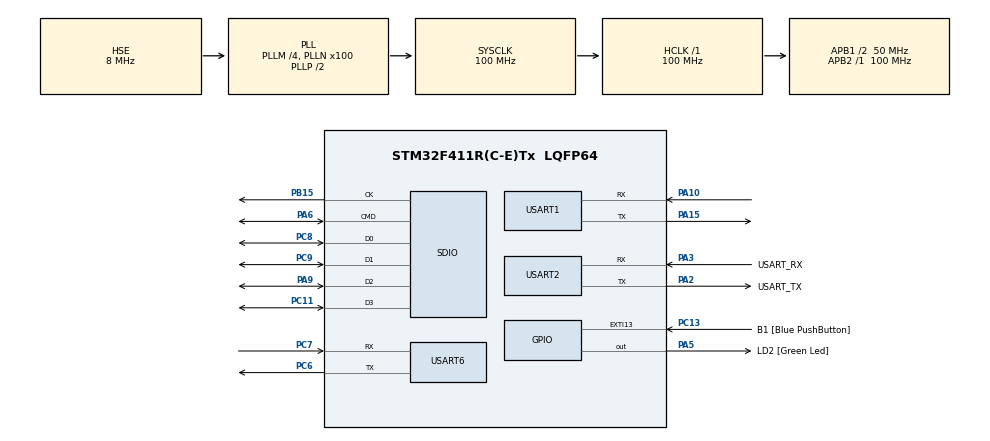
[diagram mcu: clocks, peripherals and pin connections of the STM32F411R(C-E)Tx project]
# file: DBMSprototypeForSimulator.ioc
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Dma.Request0=SDIO_RX
Dma.Request1=SDIO_TX
Dma.SDIO_RX.0.Direction=DMA_PERIPH_TO_MEMORY
Dma.SDIO_RX.0.FIFOMode=DMA_FIFOMODE_ENABLE
Dma.SDIO_RX.0.FIFOThreshold=DMA_FIFO_THRESHOLD_FULL
Dma.SDIO_RX.0.Instance=DMA2_Stream3
Dma.SDIO_RX.0.MemBurst=DMA_MBURST_INC4
Dma.SDIO_RX.0.MemDataAlignment=DMA_MDATAALIGN_WORD
Dma.SDIO_RX.0.MemInc=DMA_MINC_ENABLE
Dma.SDIO_RX.0.Mode=DMA_PFCTRL
Dma.SDIO_RX.0.PeriphBurst=DMA_PBURST_INC4
Dma.SDIO_RX.0.PeriphDataAlignment=DMA_PDATAALIGN_WORD
Dma.SDIO_RX.0.PeriphInc=DMA_PINC_DISABLE
Dma.SDIO_RX.0.Priority=DMA_PRIORITY_LOW
Dma.SDIO_TX.1.Direction=DMA_MEMORY_TO_PERIPH
Dma.SDIO_TX.1.FIFOMode=DMA_FIFOMODE_ENABLE
Dma.SDIO_TX.1.FIFOThreshold=DMA_FIFO_THRESHOLD_FULL
Dma.SDIO_TX.1.Instance=DMA2_Stream6
Dma.SDIO_TX.1.MemBurst=DMA_MBURST_INC4
Dma.SDIO_TX.1.MemDataAlignment=DMA_MDATAALIGN_WORD
Dma.SDIO_TX.1.MemInc=DMA_MINC_ENABLE
Dma.SDIO_TX.1.Mode=DMA_PFCTRL
Dma.SDIO_TX.1.PeriphBurst=DMA_PBURST_INC4
Dma.SDIO_TX.1.PeriphDataAlignment=DMA_PDATAALIGN_WORD
Dma.SDIO_TX.1.PeriphInc=DMA_PINC_DISABLE
Dma.SDIO_TX.1.Priority=DMA_PRIORITY_LOW
FATFS.USE_DMA_CODE_SD=1
Mcu.Family=STM32F4
Mcu.Name=STM32F411R(C-E)Tx
Mcu.Package=LQFP64
NVIC.DMA2_Stream3_IRQn=true\:0\:0\:false\:false\:true\:false\:true
NVIC.DMA2_Stream6_IRQn=true\:0\:0\:false\:false\:true\:false\:true
NVIC.PriorityGroup=NVIC_PRIORITYGROUP_0
NVIC.SDIO_IRQn=true\:0\:0\:false\:false\:true\:true\:true
NVIC.USART1_IRQn=true\:0\:0\:false\:false\:true\:true\:true
NVIC.USART6_IRQn=true\:0\:0\:false\:false\:true\:true\:true
PA10.Mode=Asynchronous
PA10.Signal=USART1_RX
PA13.GPIO_Label=TMS
PA13.Mode=Serial_Wire
PA13.Signal=SYS_JTMS-SWDIO
PA14.GPIO_Label=TCK
PA14.Mode=Serial_Wire
PA14.Signal=SYS_JTCK-SWCLK
PA15.Mode=Asynchronous
PA15.Signal=USART1_TX
PA2.GPIO_Label=USART_TX
PA2.Mode=Asynchronous
PA2.Signal=USART2_TX
PA3.GPIO_Label=USART_RX
PA3.Mode=Asynchronous
PA3.Signal=USART2_RX
PA5.GPIO_Label=LD2 [Green Led]
PA5.Signal=GPIO_Output
PA6.Mode=SD_4_bits_Wide_bus
PA6.Signal=SDIO_CMD
PA9.Mode=SD_4_bits_Wide_bus
PA9.Signal=SDIO_D2
PB15.Mode=SD_4_bits_Wide_bus
PB15.Signal=SDIO_CK
PB3.GPIO_Label=SWO
PB3.Signal=SYS_JTDO-SWO
PC11.Mode=SD_4_bits_Wide_bus
PC11.Signal=SDIO_D3
PC13-ANTI_TAMP.GPIO_Label=B1 [Blue PushButton]
PC13-ANTI_TAMP.GPIO_ModeDefaultEXTI=GPIO_MODE_IT_FALLING
PC13-ANTI_TAMP.Signal=GPXTI13
PC14-OSC32_IN.Mode=LSE-External-Oscillator
PC14-OSC32_IN.Signal=RCC_OSC32_IN
PC15-OSC32_OUT.Mode=LSE-External-Oscillator
PC15-OSC32_OUT.Signal=RCC_OSC32_OUT
PC6.Mode=Asynchronous
PC6.Signal=USART6_TX
PC7.Mode=Asynchronous
PC7.Signal=USART6_RX
PC8.Mode=SD_4_bits_Wide_bus
PC8.Signal=SDIO_D0
PC9.Mode=SD_4_bits_Wide_bus
PC9.Signal=SDIO_D1
PH0\ -\ OSC_IN.Mode=HSE-External-Clock-Source
PH0\ -\ OSC_IN.Signal=RCC_OSC_IN
PH1\ -\ OSC_OUT.Mode=HSE-External-Clock-Source
PH1\ -\ OSC_OUT.Signal=RCC_OSC_OUT
ProjectManager.HeapSize=0x200
ProjectManager.StackSize=0x400
ProjectManager.TargetToolchain=STM32CubeIDE
RCC.48MHZClocksFreq_Value=40000000
RCC.AHBFreq_Value=100000000
RCC.APB1CLKDivider=RCC_HCLK_DIV2
RCC.APB1Freq_Value=50000000
RCC.APB1TimFreq_Value=100000000
RCC.APB2Freq_Value=100000000
RCC.APB2TimFreq_Value=100000000
RCC.CortexFreq_Value=100000000
RCC.FLatency-AdvancedSettings=FLASH_LATENCY_3
RCC.HCLKFreq_Value=100000000
RCC.HSE_VALUE=8000000
RCC.HSI_VALUE=16000000
RCC.PLLM=4
RCC.PLLN=100
RCC.PLLQ=5
RCC.PLLSourceVirtual=RCC_PLLSOURCE_HSE
RCC.SYSCLKFreq_VALUE=100000000
RCC.SYSCLKSource=RCC_SYSCLKSOURCE_PLLCLK
RCC.VCOOutputFreq_Value=200000000
USART1.VirtualMode=VM_ASYNC
USART2.VirtualMode=VM_ASYNC
USART6.VirtualMode=VM_ASYNC
VP_FATFS_VS_SDIO.Mode=SDIO
board=NUCLEO-F411RE

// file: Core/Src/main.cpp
/* USER CODE BEGIN Header */
/**
  ******************************************************************************
  * @file           : main.c
  * @brief          : Main program body
  ******************************************************************************
  * @attention
  *
  * Copyright (c) 2022 STMicroelectronics.
  * All rights reserved.
  *
  * This software is licensed under terms that can be found in the LICENSE file
  * in the root directory of this software component.
  * If no LICENSE file comes with this software, it is provided AS-IS.
  *
  ******************************************************************************
  */
/* USER CODE END Header */
#include "main.h"
#include "dma.h"
#include "fatfs.h"
#include "sdio.h"
#include "usart.h"
#include "gpio.h"

/* USER CODE BEGIN Includes */
#include "stn1110.h"
#include "UartRingbuffer.h"
/* USER CODE END Includes */

/* USER CODE BEGIN PV */

float f_pitch;
float f_roll;
float f_accelX;
float f_accelY;

int i_accelX;
int i_accelY;

////////////////////////////////////////////SDIO///////////////////////////////////////////////////////////////

int i;

char Filename[] = "Log00000.CSV";

////////////////////////////////////////////SDIO///////////////////////////////////////////////////////////////

////////////////////////////////////////////stn1110///////////////////////////////////////////////////////////

uint32_t Uart6_currentTime;
uint32_t Uart6_previousTime;
const uint32_t Uart6_timeout_ms = 1000;

#define cur_myELM327_STATUS curS;
#define pre_myELM327_STATUS preS;

uint32_t rpm = 0;
uint32_t motorrpm = 0;
uint32_t kph = 0;
uint32_t engineLoad = 0;
uint16_t runTime = 0;
uint8_t fuelType = 0;
int32_t oilTemp = 0;
uint32_t relativePedalPos = 0;
uint32_t throttle = 0;
uint32_t relativeThrottle = 0;
int32_t intakeAirTemp = 0;
uint32_t fuelLevel = 0;
float mafRate = 0; // uint32_t
uint8_t obdStandards = 0;
uint16_t distTravelWithMIL = 0;
uint16_t distSinceCodesCleared = 0;
uint32_t ctrlModVoltage = 0;
int16_t ambientAirTemp = 0;
uint32_t manifoldPressure = 0;
int32_t engineCoolantTemp = 0;
float commandedThrottleActuator = 0;
float commandedAirFuelRatio = 0.0; //stn1110 Data Variables

static uint32_t counter_AccelYp;
static uint32_t counter_Fuel;
//static uint32_t counter_Energy;
static uint32_t counter_Rpm;
//static uint32_t counter_MotorRpm;
static float efficiencyScore;
static uint32_t counter_AccelX;
static uint32_t counter_AccelYm;
static uint32_t counter_AccelYm2;
static uint32_t counter_Time;
static uint32_t counter_KphRpm;
//static uint32_t counter_KphMotorRpm;
static uint32_t counter_Throttle;
static float safetyScore;
static float drivingScore = 10.0;
static float averagedrivingScore = 10.0;
static int counter_N1 = 1;
static int counter_N2 = 1;
static int counter_N3 = 1;
//static int counter_N4 = 1;
static int counter_Idle = 0;
static float AFR = 14.70;

float pre_f_accelX;
float pre_f_accelY;
float pre_instantFuelConsume;
float pre_instantEnergyConsume;
uint32_t pre_rpm;
uint32_t pre_motorrpm;
uint32_t pre_runTime;
int32_t pre_kph;
float pre_commandedThrottleActuator;
float instantFuelConsume = 12.0;
float averageFuelConsume = 12.0;
float averagecommandedThrottleActuator = 8;
float instantEnergyConsume = 12.0;
float averageEnergyConsume = 12.0;

bool flag_aws_publish = false; //flag

char car_state[30] = "";
int pwrCheck;
int rstCheck;
bool errorvaluecheck = true;
bool mafRatecheck = false;

static uint32_t elmstatusCheck = 0;

unsigned long c_time = 0;
unsigned long e_time = 0;

int HOUR = 0;
int MIN = 0;
int SEC = 0; // ?���? ?���? ?��,�?,�?

int E_HOUR = 0;
int E_MIN = 0;
int E_SEC = 0; // ?���? ?���? ?��,�?,�?

////////////////////////////////////////////stn1110///////////////////////////////////////////////////////////

STN1110 stn;

FATFS myFatFS;
FATFS *fs;
FIL myFile;
UINT myBytes;
FRESULT fr;
FILINFO fno;

DWORD fre_clust, fre_sect, tot_sect;

/* USER CODE END PV */

void SystemClock_Config(void);

/* USER CODE BEGIN 0 */
void printError(int8_t curS);
void LogToSDcard();
void LogToSDcard2();
void LogToSDcardError(int8_t curS);
void createNewfile();
void createNewfile2();
void accelYpAlgorithm();
void fuelAlgorithm();
void commandedThrottleActuatorAlgorithm();
void rpmAlgorithm();
void efficiencyScoreAlgorithm();
void efficiencyScoreAlgorithm2();
void accelXAlgorithm();
void accelYmAlgorithm();
void accelYmAlgorithm2();
void timeAlgorithm();
void kphrpmAlgorithm();
void safetyScoreAlgorithm();
void drivingScoreAlgorithm();
void averagedrivingScoreAlgorithm();
void pre_DataUpdate();
void counterReset();
bool errorValueReset();
bool mafRateCheck(float mafRate_value);
void clearData();
bool Uart6_timeout();
void flushInputBuff();
/* USER CODE END 0 */

int main(void)
{

  /* MCU Configuration--------------------------------------------------------*/

  /* Reset of all peripherals, Initializes the Flash interface and the Systick. */
  HAL_Init();

  /* Configure the system clock */
  SystemClock_Config();

  /* Initialize all configured peripherals */
  MX_GPIO_Init();
  MX_USART2_UART_Init();
  MX_SDIO_SD_Init();
  MX_USART6_UART_Init();
  MX_FATFS_Init();
  MX_DMA_Init();
  MX_USART1_UART_Init();
  /* USER CODE BEGIN 2 */
  Ringbuf_init();
  Ringbuf_init2();

  /////////////////////////////////////////////MPU6050//////////////////////////////////////////////////////////

 //자이로 데이터 받아오기

  /////////////////////////////////////////////MPU6050//////////////////////////////////////////////////////////

 ///////////////////////////////////////////SDIO/////////////////////////////////////////////////////////////

    	    if(f_mount(&myFatFS, SDPath, 1) == FR_OK)
    	     {
    	   	  printf("SD Mount 'Success'\r\n");
    	   	  fr = f_getfree("", &fre_clust, &fs);
    	   	    /* Get total sectors and free sectors */
    	   	    tot_sect = (fs->n_fatent - 2) * fs->csize;
    	   	    fre_sect = fre_clust * fs->csize;
    	   	    /* Print the free space (assuming 512 bytes/sector) */
    	   	    printf("SD card stauts : %lu MB total drive space.\r\n", (tot_sect / 2)/997);
    	   	    printf("Remaining space : %lu MB available.\r\n", (fre_sect / 2)/997);

    	   //	    if (((fre_sect/2)/997) < 10)
    	   //	    {
    	   //			?��?�� �?족시 ?��?��?��?�� 루틴 만들�?
    	   //	    }

    	   	  for (unsigned int k = 0; k < 100000; k++)
    	   	  {
    	   		Filename[3] = k / 10000 + '0'; //만자�?
    	   		Filename[4] = ((k % 10000) / 1000) + '0';//천자�?
    	   		Filename[5] = ((k % 1000) / 100) + '0';//백자�?
    	   		Filename[6] = ((k % 100) / 10) + '0'; //?��?���?
    	   		Filename[7] = k % 10 + '0'; //?��?���?
    	   		fr = f_open(&myFile, Filename, FA_WRITE | FA_CREATE_NEW);
    	   		if (fr == FR_OK)
    	   		{
    	   			break;
    	   		}
    	   	  }
    	   	  printf("Logging to : ");
    	   	  printf("%s\r\n", Filename);
    	   	  f_printf(&myFile, "%s", "First Boot");
    	   	  f_printf(&myFile, "%s", "\n");
    	   	  f_printf(&myFile, "%s", "Time,ELM327_Status,RunTime,Rpm,Kph,EngineLoad,throttle,InstantFuelConsume,counter_AccelYp,counter_Fuel,counter_Rpm,efficiencyScore,counter_AccelX,counter_AccelYm,AccelYm2,counter_Time,counter_KphRpm,safetyScore,drivingScore,averagedrivingScore,f_pitch,f_roll,f_accelX,f_accelY");
    	   	  f_printf(&myFile, "%s", "\n");
    	   	  f_close(&myFile);
    	     }
    	     else { printf("SD Mount 'Failed'\r\n"); NVIC_SystemReset(); }

    	  /////////////////////////////////////////////SDIO/////////////////////////////////////////////////////////////

  /////////////////////////////////////////////stn1110//////////////////////////////////////////////////////////

    if (!stn.begin(&huart6, false, 2000))
    	{
    		printf("Couldn't connect to STN1110");
    		while(1);
    	}
    else printf("Connected to STN1110\r\n");

	uint8_t Uart6_counter = 0;
	uint16_t Uart6_PAYLOAD_LEN;
	char* Uart6_payload;
	bool Uart6_debugMode = false;
	const uint16_t& Uart6_payloadLen = 40;
	Uart6_PAYLOAD_LEN = Uart6_payloadLen;
	Uart6_payload = (char*)malloc(Uart6_PAYLOAD_LEN + 1);
  /* USER CODE END 2 */

  /* Infinite loop */
  /* USER CODE BEGIN WHILE */
  while (1)
  {
/////////////////////////////////////////////mpu6050//////////////////////////////////////////////////////////
		// clear payload buffer
		memset(Uart6_payload, '\0', Uart6_PAYLOAD_LEN + 1);
		Uart6_counter = 0;
		flushInputBuff();
		Uart_flush();

//		uint8_t str[] = "at+qd\r\n";
//		HAL_UART_Transmit(&huart1, (uint8_t*)str, 8, 1000); //uart번호, 출력할 문자열, 문자 개수, timeout

		Uart_sendstring("at+qd\r\n");

		// prime the timeout timer
		Uart6_previousTime = millis();
		Uart6_currentTime  = Uart6_previousTime;

		while ((Uart6_counter < Uart6_PAYLOAD_LEN) && !Uart6_timeout())
		{
	//		printf("this is sendcommand while loop");

			if (IsDataAvailable())
			{

				char recGyro = Uart_read();

				if (Uart6_debugMode)
				{
					printf("\tReceived char: ");

					if (recGyro == '\f')
						printf("\\f\r\n");
					else if (recGyro == '\n')
						printf("\\n\r\n");
					else if (recGyro == '\r')
						printf("\\r\r\n");
					else if (recGyro == '\t')
						printf("\\t\r\n");
					else if (recGyro == '\v')
						printf("\\v\r\n");
					else
						printf("%c\r\n", recGyro);
				}

				if (recGyro == '<')
				{
					if (Uart6_debugMode)
						printf("Delimiter found\r\n");

					break;
				}
//				else if (!isalnum(recGyro) && (recGyro != ':'))
				else if ((recGyro == '.'))
					continue;

				Uart6_payload[Uart6_counter] = recGyro;
				Uart6_counter++;

			}
		}

		//printf("%s\r\n", Uart6_payload);
		char Gyro_payload[10];
		char* token;
		char del[] = ",";
		memcpy(Gyro_payload, Uart6_payload, sizeof(Gyro_payload));
//		printf("%s\r\n", Gyro_payload);

		token = strtok(Gyro_payload, del);
//		printf("first one : %s\r\n", token);
		i_accelX = atoi(token);
		f_accelX = i_accelX / (float)100;

		token = strtok(NULL, del);
//		printf("second one : %s\r\n", token);
		i_accelY = atoi(token);
		f_accelY = i_accelY / (float)100;

/////////////////////////////////////////////mpu6050//////////////////////////////////////////////////////////

/////////////////////////////////////////////stn1110//////////////////////////////////////////////////////////

  	  	 	 	    static int8_t cur_myELM327_STATUS; // ?��?��?��?�� ?��?���??��
		  	  	    static int8_t pre_myELM327_STATUS; // ?��?��?��?�� ?��?���??��

		  	  	    c_time = millis() / 1000; //?���?

		  	  	    SEC = c_time % 60;
		  	  	    MIN = (c_time / 60) % 60;
		  	  	    HOUR = (c_time / (60 * 60)) % 24;

		  	  	    float tempRPM = stn.rpm();
		  	  	    uint32_t tempVEHICLE_SPEED = stn.kph();
		  	  	    float tempENGINE_LOAD = stn.engineLoad();
		  	  	    uint16_t tempRUN_TIME_SINCE_ENGINE_START = stn.runTime();
		  	  	    uint8_t tempFUEL_TYPE = stn.fuelType();
		  	  	    float tempENGINE_OIL_TEMP = stn.oilTemp();
		  	  	    float tempENGINE_COOLANT_TEMP = stn.engineCoolantTemp();
		  	  	    float tempRELATIVE_ACCELERATOR_PEDAL_POS = stn.relativePedalPos();
		  	  	    float tempTHROTTLE_POSITION = stn.throttle();
		  	  	    float tempCOMMANDED_THROTTLE_ACTUATOR = stn.commandedThrottleActuator();
		  	  	    float tempRELATIVE_THROTTLE_POSITION = stn.relativeThrottle();
		  	  	    float tempINTAKE_AIR_TEMP = stn.intakeAirTemp();
		  	  	    uint8_t tempINTAKE_MANIFOLD_ABS_PRESSURE = stn.manifoldPressure();
		  	  	    float tempFUEL_TANK_LEVEL_INPUT = stn.fuelLevel();
		  	  	    uint8_t tempOBD_STANDARDS = stn.obdStandards();
		  	  	    float tempCONTROL_MODULE_VOLTAGE = stn.ctrlModVoltage();
		  	  	    float tempAMBIENT_AIR_TEMP = stn.ambientAirTemp();
		  	  	    uint16_t tempDISTANCE_TRAVELED_WITH_MIL_ON = stn.distTravelWithMIL();
		  	  	    uint16_t tempDIST_TRAV_SINCE_CODES_CLEARED = stn.distSinceCodesCleared();
		  	  	    float tempMAF_FLOW_RATE = stn.mafRate();
		  	  	    float tempFUEL_AIR_MANDED_EQUIV_RATIO = stn.commandedAirFuelRatio();

		  	  	    mafRateCheck(tempMAF_FLOW_RATE);

		  	  	    curS = stn.status; //?��?��?��?�� 갱신

		  	  	    switch (curS) {
		  	  	         case ELM_SUCCESS:
		  	  	         strcpy(car_state, "ELM_SUCCESS");
		  	  	         break;

		  	  	         case ELM_NO_RESPONSE:
		  	  	         strcpy(car_state, "ELM_NO_RESPONSE");
		  	  	         break;

		  	  	         case ELM_BUFFER_OVERFLOW:
		  	  	         strcpy(car_state, "ELM_BUFFER_OVERFLOW");
		  	  	         break;

		  	  	         case ELM_UNABLE_TO_CONNECT:
		  	  	         strcpy(car_state, "ELM_UNABLE_TO_CONNECT");
		  	  	         break;

		  	  	         case ELM_NO_DATA:
		  	  	         strcpy(car_state, "ELM_NO_DATA");
		  	  	         break;

		  	  	         case ELM_STOPPED:
		  	  	         strcpy(car_state, "ELM_STOPPED");
		  	  	         break;

		  	  	         case ELM_TIMEOUT:
		  	  	         strcpy(car_state, "ELM_TIMEOUT");
		  	  	         break;

		  	  	         default:
		  	  	         strcpy(car_state, "UNKNOWN_ERROR");
		  	  	       }

		  	      if ( (curS != preS) && (mafRatecheck == true)) // 이전상태와 현재상태가 다를시 새파일 생성 (mafRate 값 받아와질시 저장)
		  	          createNewfile();
		  	      else if ( (curS != preS) && (mafRatecheck == false)) // 이전상태와 현재상태가 다를시 새파일 생성 (commandedThrottleActuatorAlgorithm 실행시 저장)
		  	          createNewfile2();

		  	  	    preS = curS; // ?��?��?��?�� ?��?��?��?���? 갱신

		  	  	  if (curS == ELM_SUCCESS)
		  	  	  {
		  	  		 elmstatusCheck = 0; //elmstatusCheck Reset!

		  	  		  runTime = (uint16_t)tempRUN_TIME_SINCE_ENGINE_START; //?��진켜진시?�� ?��?�� ?��?��?���?
		  	  		  fuelType = (int32_t)tempFUEL_TYPE; //?��?�� ?��료정�?
		  	  		  rpm = (uint32_t)tempRPM; //차량 RPM
		  	  		  kph = (uint32_t)tempVEHICLE_SPEED; //차량?��?��
		  	  		  engineLoad = (uint32_t)tempENGINE_LOAD; //?��진�??��
		  	  		  oilTemp = (int32_t)tempENGINE_OIL_TEMP; //?��?��?��?��
		  	  		  engineCoolantTemp = (int32_t)tempENGINE_COOLANT_TEMP; //?���? ?��각수 ?��?��
		  	  		  relativePedalPos = (uint32_t)tempRELATIVE_ACCELERATOR_PEDAL_POS;
		  	  		  throttle = (uint32_t)tempTHROTTLE_POSITION; //?��로�? ?���??��
		  	  		  relativeThrottle = (uint32_t)tempRELATIVE_THROTTLE_POSITION; //?��?? ?��로�? ?���??��
		  	  		  commandedThrottleActuator = (float)tempCOMMANDED_THROTTLE_ACTUATOR; //?��로�? ?��츄에?��?��
		  	  		  intakeAirTemp = (int32_t)tempINTAKE_AIR_TEMP; //?��?��공기 ?��?��
		  	  		  mafRate = (float)tempMAF_FLOW_RATE; //공기?��?��
		  	  		  manifoldPressure = (uint8_t)tempINTAKE_MANIFOLD_ABS_PRESSURE; //?��기매?��?��?�� ?��???��?��
		  	  		  ambientAirTemp = (int16_t)tempAMBIENT_AIR_TEMP; //?��기온?��
		  	  		  distTravelWithMIL = (uint16_t)tempDISTANCE_TRAVELED_WITH_MIL_ON; //경고?�� ?��?��?��?�� 주행거리
		  	  		  distSinceCodesCleared = (uint16_t)tempDIST_TRAV_SINCE_CODES_CLEARED; //DTC ?��거후 주행거리
		  	  		  fuelLevel = (uint32_t)tempFUEL_TANK_LEVEL_INPUT; //?��료레�?
		  	  		  ctrlModVoltage = (uint32_t)tempCONTROL_MODULE_VOLTAGE; //컨트�? 모듈 ?��?��
		  	  		  obdStandards = (uint8_t)tempOBD_STANDARDS; //OBD ?���? - ?��치값 wikipedia �??��
		  	  		  commandedAirFuelRatio = (float)tempFUEL_AIR_MANDED_EQUIV_RATIO;

		  	  	    if (errorValueReset() == true) {printf("Error Value Reset!\r\n"); } //errorvalue 확인후 조건수정
		  	  	    if ( (kph == 0) && (rpm >= 550) ) counter_Idle++;

		  	  	    if (mafRatecheck == true)
		  	  	    {
		  	  	      switch (fuelType) {
		  	  	      case 1 : AFR = 14.7;
		  	  	      break;
		  	  	      case 2 : AFR = 6.4;
		  	  	      break;
		  	  	      case 3 : AFR = 9.0;
		  	  	      break;
		  	  	      case 4 : AFR = 14.6;
		  	  	      break;
		  	  	      case 5 : AFR = 15.5;
		  	  	      break;
		  	  	      case 6 : AFR = 17.2;
		  	  	      break;
		  	  	      default : AFR = 14.7;
		  	  	      break; }

		  	  	      instantFuelConsume = ((kph*AFR*commandedAirFuelRatio*710.0)/(mafRate*3600)); //Km/L
		  	  	      // **instantFuelConsume = kph*1/3600*1/mafRate*AFR*770*commandedAirFuelRatio;    //km/l 단위변환
		  	  	      // **instantFuelConsume = ((mafRate*36000)/(kph*commandedAirFuelRatio*AFR*770)); //1L/100km 단위변환

		  	  	      if ( instantFuelConsume >= 30.0 )
		  	  	      {instantFuelConsume = 30.0;}

		  	  	      printf("instantFuelConsume : ");
		  	  	      printf("%f\r\n", instantFuelConsume);
		  	  	      printf("commandedAirFuelRatio : ");
		  	  	      printf("%f\r\n", commandedAirFuelRatio);
		  	  	      printf("AFR : ");
		  	  	      printf("%f\r\n", AFR);
		  	  	     }

		  	  	    if (mafRatecheck == true) {LogToSDcard();} // 시리얼모니터 확인 및 sd 카드 저장함수
		  	  	    else if (mafRatecheck == false) {LogToSDcard2();}
		  	   	  }
		  	  	  else {
		  	  		  printError(curS);
		  	  	  }

		  	  	if ( (rpm >100) && (pre_rpm > 100) && (curS == ELM_SUCCESS ) ) //알고리즘 실행 조건 수정필요
		  	  	      {
		  	  	        if (mafRatecheck == false)
		  	  	        {
		  	  	          commandedThrottleActuatorAlgorithm();
		  	  	          accelYpAlgorithm();
		  	  	          rpmAlgorithm();
		  	  	          efficiencyScoreAlgorithm2();
		  	  	        }

		  	  	        else if (mafRatecheck == true)
		  	  	        {
		  	  	          fuelAlgorithm();
		  	  	          accelYpAlgorithm();
		  	  	          rpmAlgorithm();
		  	  	          efficiencyScoreAlgorithm();
		  	  	        }

		  	  	        accelXAlgorithm();
		  	  	        accelYmAlgorithm();
		  	  	        accelYmAlgorithm2();
		  	  	        timeAlgorithm();
		  	  	        kphrpmAlgorithm();
		  	  	        safetyScoreAlgorithm();

		  	  	        drivingScoreAlgorithm();
		  	  	        averagedrivingScoreAlgorithm();
		  	  	      }
		  	  	      pre_DataUpdate();

		  	  	      if (elmstatusCheck > 5)
		  	  	      { counterReset(); }

/////////////////////////////////////////////stn1110//////////////////////////////////////////////////////////
    /* USER CODE END WHILE */

  }
}

void SystemClock_Config(void)
{
  RCC_OscInitTypeDef RCC_OscInitStruct = {0};
  RCC_ClkInitTypeDef RCC_ClkInitStruct = {0};

  /** Configure the main internal regulator output voltage
  */
  __HAL_RCC_PWR_CLK_ENABLE();
  __HAL_PWR_VOLTAGESCALING_CONFIG(PWR_REGULATOR_VOLTAGE_SCALE1);
  /** Initializes the RCC Oscillators according to the specified parameters
  * in the RCC_OscInitTypeDef structure.
  */
  RCC_OscInitStruct.OscillatorType = RCC_OSCILLATORTYPE_HSE;
  RCC_OscInitStruct.HSEState = RCC_HSE_BYPASS;
  RCC_OscInitStruct.PLL.PLLState = RCC_PLL_ON;
  RCC_OscInitStruct.PLL.PLLSource = RCC_PLLSOURCE_HSE;
  RCC_OscInitStruct.PLL.PLLM = 4;
  RCC_OscInitStruct.PLL.PLLN = 100;
  RCC_OscInitStruct.PLL.PLLP = RCC_PLLP_DIV2;
  RCC_OscInitStruct.PLL.PLLQ = 5;
  if (HAL_RCC_OscConfig(&RCC_OscInitStruct) != HAL_OK)
  {
    Error_Handler();
  }
  /** Initializes the CPU, AHB and APB buses clocks
  */
  RCC_ClkInitStruct.ClockType = RCC_CLOCKTYPE_HCLK|RCC_CLOCKTYPE_SYSCLK
                              |RCC_CLOCKTYPE_PCLK1|RCC_CLOCKTYPE_PCLK2;
  RCC_ClkInitStruct.SYSCLKSource = RCC_SYSCLKSOURCE_PLLCLK;
  RCC_ClkInitStruct.AHBCLKDivider = RCC_SYSCLK_DIV1;
  RCC_ClkInitStruct.APB1CLKDivider = RCC_HCLK_DIV2;
  RCC_ClkInitStruct.APB2CLKDivider = RCC_HCLK_DIV1;

  if (HAL_RCC_ClockConfig(&RCC_ClkInitStruct, FLASH_LATENCY_3) != HAL_OK)
  {
    Error_Handler();
  }
}

/* USER CODE BEGIN 4 */

////////////////////////////////////////////stn1110///////////////////////////////////////////////////////////

void printError(int8_t curS)
{
    elmstatusCheck++;

    if (curS == ELM_NO_RESPONSE)
    {
        printf("ERROR: ELM_NO_RESPONSE");
    }
    else if (curS == ELM_BUFFER_OVERFLOW)
    {
        printf("ERROR: ELM_BUFFER_OVERFLOW");
    }
    else if (curS == ELM_UNABLE_TO_CONNECT)
    {
    	printf("ERROR: ELM_UNABLE_TO_CONNECT");
    }
    else if (curS == ELM_NO_DATA)
    {
    	printf("ERROR: ELM_NO_DATA");
    }
    else if (curS == ELM_STOPPED)
    {
    	printf("ERROR: ELM_STOPPED");
    }
    else if (curS == ELM_TIMEOUT)
    {
    	printf("ERROR: ELM_TIMEOUT");
    }
    else if (curS == ELM_GENERAL_ERROR)
    {
    	printf("ERROR: ELM_GENERAL_ERROR");
    }
    printf("\r\n");

    LogToSDcardError(curS);
}

void LogToSDcard()
   {
	char logBuf[64];
	int loglen;

    // open the file. note that only one file can be open at a time,
    // so you have to close this one before opening another.
    fr = f_open(&myFile, Filename,  FA_WRITE | FA_OPEN_APPEND);

    // if the file is available, write to it:
    if (fr == FR_OK)
    {
        printf("ELM327 Data Logging...\r\n");
        f_printf(&myFile, "%d", HOUR);
        f_printf(&myFile, "%s", "h_");
        f_printf(&myFile, "%d", MIN);
        f_printf(&myFile, "%s", "m_");
        f_printf(&myFile, "%d", SEC);
        f_printf(&myFile, "%s", "s");
    	f_printf(&myFile, "%c", ',');

        f_printf(&myFile, "%s", "ELM_SUCCESS");
    	f_printf(&myFile, "%c", ',');

        f_printf(&myFile, "%u", runTime/60);
    	f_printf(&myFile, "%c", ',');

        f_printf(&myFile, "%u", rpm);
    	f_printf(&myFile, "%c", ',');

        f_printf(&myFile, "%u", kph);
    	f_printf(&myFile, "%c", ',');

        f_printf(&myFile, "%u", engineLoad);
    	f_printf(&myFile, "%c", ',');

        f_printf(&myFile, "%u", throttle);
    	f_printf(&myFile, "%c", ',');

    	f_lseek(&myFile, f_size(&myFile));
    	loglen = sprintf(logBuf, "%f", instantFuelConsume);
    	f_write(&myFile, logBuf, loglen, &myBytes);
        //f_printf(&myFile, "%f", instantFuelConsume);
    	f_printf(&myFile, "%c", ',');

        f_printf(&myFile, "%u", counter_AccelYp);
    	f_printf(&myFile, "%c", ',');

        f_printf(&myFile, "%u", counter_Fuel);
    	f_printf(&myFile, "%c", ',');

        f_printf(&myFile, "%u", counter_Rpm);
    	f_printf(&myFile, "%c", ',');

    	logBuf[0] = {0,};
    	f_lseek(&myFile, f_size(&myFile));
    	loglen = sprintf(logBuf, "%f", efficiencyScore);
    	f_write(&myFile, logBuf, loglen, &myBytes);
        //f_printf(&myFile, "%f", efficiencyScore);
    	f_printf(&myFile, "%c", ',');

        f_printf(&myFile, "%u", counter_AccelX);
    	f_printf(&myFile, "%c", ',');

        f_printf(&myFile, "%u", counter_AccelYm);
    	f_printf(&myFile, "%c", ',');

        f_printf(&myFile, "%u", counter_AccelYm2);
    	f_printf(&myFile, "%c", ',');

        f_printf(&myFile, "%u", counter_Time);
    	f_printf(&myFile, "%c", ',');

        f_printf(&myFile, "%u", counter_KphRpm);
    	f_printf(&myFile, "%c", ',');

    	logBuf[0] = {0,};
    	f_lseek(&myFile, f_size(&myFile));
    	loglen = sprintf(logBuf, "%f", safetyScore);
    	f_write(&myFile, logBuf, loglen, &myBytes);
        //f_printf(&myFile, "%f", safetyScore);
    	f_printf(&myFile, "%c", ',');

    	logBuf[0] = {0,};
    	f_lseek(&myFile, f_size(&myFile));
    	loglen = sprintf(logBuf, "%f", drivingScore);
    	f_write(&myFile, logBuf, loglen, &myBytes);
        //f_printf(&myFile, "%f", drivingScore);
    	f_printf(&myFile, "%c", ',');

    	logBuf[0] = {0,};
    	f_lseek(&myFile, f_size(&myFile));
    	loglen = sprintf(logBuf, "%f", averagedrivingScore);
    	f_write(&myFile, logBuf, loglen, &myBytes);
        //f_printf(&myFile, "%f", averagedrivingScore);
    	f_printf(&myFile, "%c", ',');

    	logBuf[0] = {0,};
    	f_lseek(&myFile, f_size(&myFile));
    	loglen = sprintf(logBuf, "%.2f", f_pitch);
    	f_write(&myFile, logBuf, loglen, &myBytes);
        //f_printf(&myFile, "%f", f_pitch);
    	f_printf(&myFile, "%c", ',');

    	logBuf[0] = {0,};
    	f_lseek(&myFile, f_size(&myFile));
    	loglen = sprintf(logBuf, "%.2f", f_roll);
    	f_write(&myFile, logBuf, loglen, &myBytes);
        //f_printf(&myFile, "%f", f_roll);
    	f_printf(&myFile, "%c", ',');

    	logBuf[0] = {0,};
    	f_lseek(&myFile, f_size(&myFile));
    	loglen = sprintf(logBuf, "%.2f", f_accelX);
    	f_write(&myFile, logBuf, loglen, &myBytes);
        //f_printf(&myFile, "%f", f_accelX);
    	f_printf(&myFile, "%c", ',');

    	logBuf[0] = {0,};
    	f_lseek(&myFile, f_size(&myFile));
    	loglen = sprintf(logBuf, "%.2f", f_accelY);
    	f_write(&myFile, logBuf, loglen, &myBytes);
        //f_printf(&myFile, "%f", f_accelY);
    	f_printf(&myFile, "%c", ',');
    	f_printf(&myFile, "%s", "\n");

        f_close(&myFile);
    }
    else
    	printf("Failed to open %s \r\n", Filename);

    //if the file isn't open, pop up an error:
    /*else
    {
        Serial.println("error opening LOG_XXXX.txt");
        delay(100);
    }*/
}

void LogToSDcard2()
   {
	char logBuf[64];
	int loglen;

    // open the file. note that only one file can be open at a time,
    // so you have to close this one before opening another.
    fr = f_open(&myFile, Filename,  FA_WRITE | FA_OPEN_APPEND);

    // if the file is available, write to it:
    if (fr == FR_OK)
    {
    	f_printf(&myFile, "%d", HOUR);
    	f_printf(&myFile, "%s", "h_");
    	f_printf(&myFile, "%d", MIN);
    	f_printf(&myFile, "%s", "m_");
    	f_printf(&myFile, "%d", SEC);
    	f_printf(&myFile, "%s", "s");
    	f_printf(&myFile, "%c", ',');

    	f_printf(&myFile, "%s", "ELM_SUCCESS");
    	f_printf(&myFile, "%c", ',');

    	f_printf(&myFile, "%u", runTime/60);
    	f_printf(&myFile, "%c", ',');

 	    f_printf(&myFile, "%u", rpm);
    	f_printf(&myFile, "%c", ',');

    	f_printf(&myFile, "%u", kph);
    	f_printf(&myFile, "%c", ',');

    	f_printf(&myFile, "%u", engineLoad);
    	f_printf(&myFile, "%c", ',');

    	f_printf(&myFile, "%u", throttle);
    	f_printf(&myFile, "%c", ',');

    	f_lseek(&myFile, f_size(&myFile));
    	loglen = sprintf(logBuf, "%f", commandedThrottleActuator);
    	f_write(&myFile, logBuf, loglen, &myBytes);
    	//f_printf(&myFile, "%f", commandedThrottleActuator);
    	f_printf(&myFile, "%c", ',');

 	    f_printf(&myFile, "%u", counter_AccelYp);
    	f_printf(&myFile, "%c", ',');

 	    f_printf(&myFile, "%u", counter_Throttle);
    	f_printf(&myFile, "%c", ',');

 	    f_printf(&myFile, "%u", counter_Rpm);
    	f_printf(&myFile, "%c", ',');

    	logBuf[0] = {0,};
    	f_lseek(&myFile, f_size(&myFile));
    	loglen = sprintf(logBuf, "%f", efficiencyScore);
    	f_write(&myFile, logBuf, loglen, &myBytes);
 	    //f_printf(&myFile, "%f", efficiencyScore);
    	f_printf(&myFile, "%c", ',');

 	    f_printf(&myFile, "%u", counter_AccelX);
    	f_printf(&myFile, "%c", ',');

 	    f_printf(&myFile, "%u", counter_AccelYm);
    	f_printf(&myFile, "%c", ',');

 	    f_printf(&myFile, "%u", counter_AccelYm2);
    	f_printf(&myFile, "%c", ',');

 	    f_printf(&myFile, "%u", counter_Time);
    	f_printf(&myFile, "%c", ',');

 	    f_printf(&myFile, "%u", counter_KphRpm);
    	f_printf(&myFile, "%c", ',');

    	logBuf[0] = {0,};
    	f_lseek(&myFile, f_size(&myFile));
    	loglen = sprintf(logBuf, "%f", safetyScore);
    	f_write(&myFile, logBuf, loglen, &myBytes);
 	    //f_printf(&myFile, "%f", safetyScore);
    	f_printf(&myFile, "%c", ',');

    	logBuf[0] = {0,};
    	f_lseek(&myFile, f_size(&myFile));
    	loglen = sprintf(logBuf, "%f", drivingScore);
    	f_write(&myFile, logBuf, loglen, &myBytes);
 	    //f_printf(&myFile, "%f", drivingScore);
    	f_printf(&myFile, "%c", ',');

    	logBuf[0] = {0,};
    	f_lseek(&myFile, f_size(&myFile));
    	loglen = sprintf(logBuf, "%f", averagedrivingScore);
    	f_write(&myFile, logBuf, loglen, &myBytes);
 	    //f_printf(&myFile, "%f", averagedrivingScore);
    	f_printf(&myFile, "%c", ',');

    	logBuf[0] = {0,};
    	f_lseek(&myFile, f_size(&myFile));
    	loglen = sprintf(logBuf, "%.2f", f_pitch);
    	f_write(&myFile, logBuf, loglen, &myBytes);
 	    //f_printf(&myFile, "%f", f_pitch);
    	f_printf(&myFile, "%c", ',');

    	logBuf[0] = {0,};
    	f_lseek(&myFile, f_size(&myFile));
    	loglen = sprintf(logBuf, "%.2f", f_roll);
    	f_write(&myFile, logBuf, loglen, &myBytes);
 	    //f_printf(&myFile, "%f", f_roll);
    	f_printf(&myFile, "%c", ',');

    	logBuf[0] = {0,};
    	f_lseek(&myFile, f_size(&myFile));
    	loglen = sprintf(logBuf, "%.2f", f_accelX);
    	f_write(&myFile, logBuf, loglen, &myBytes);
 	    //f_printf(&myFile, "%f", f_accelX);
    	f_printf(&myFile, "%c", ',');

    	logBuf[0] = {0,};
    	f_lseek(&myFile, f_size(&myFile));
    	loglen = sprintf(logBuf, "%.2f", f_accelY);
    	f_write(&myFile, logBuf, loglen, &myBytes);
 	    //f_printf(&myFile, "%f", f_accelY);
    	f_printf(&myFile, "%c", ',');
    	f_printf(&myFile, "%s", "\n");

        f_close(&myFile);
    }
    else
    	printf("Failed to open %s \r\n", Filename);

    //if the file isn't open, pop up an error:
    /*else
    {
        Serial.println("error opening LOG_XXXX.txt");
        delay(100);
    }*/
}

void LogToSDcardError(int8_t curS)
{
	printf("ELM_ERROR LOGGED\r\n");

    e_time = millis() / 1000; //에러타임

    E_SEC = e_time % 60;
    E_MIN = (e_time / 60) % 60;
    E_HOUR = (e_time / (60 * 60)) % 24;

    // open the file. note that only one file can be open at a time,
    // so you have to close this one before opening another.
    fr = f_open(&myFile, Filename, FA_WRITE | FA_OPEN_APPEND );

  if (fr == FR_OK)
   {
   	f_printf(&myFile, "%d", E_HOUR);
   	f_printf(&myFile, "%s", "h_");
   	f_printf(&myFile, "%d", E_MIN);
   	f_printf(&myFile, "%s", "m_");
   	f_printf(&myFile, "%d", E_SEC);
   	f_printf(&myFile, "%s", "s");
  	f_printf(&myFile, "%c", ',');

     if (curS == ELM_NO_RESPONSE) {

     f_printf(&myFile, "%s", "ERROR: ELM_NO_RESPONSE");
     f_printf(&myFile, "%s", "\n"); }

     else if (curS == ELM_BUFFER_OVERFLOW) {

     f_printf(&myFile, "%s", "ERROR: ELM_BUFFER_OVERFLOW");
 	 f_printf(&myFile, "%s", "\n"); }

     else if (curS == ELM_UNABLE_TO_CONNECT) {

     f_printf(&myFile, "%s", "ERROR: ELM_UNABLE_TO_CONNECT");
     f_printf(&myFile, "%s", "\n"); }

     else if (curS == ELM_NO_DATA) {

     f_printf(&myFile, "%s", "ERROR: ELM_NO_DATA");
 	 f_printf(&myFile, "%s", "\n"); }

     else if (curS == ELM_STOPPED) {

     f_printf(&myFile, "%s", "ERROR: ELM_STOPPED");
 	 f_printf(&myFile, "%s", "\n"); }

     else if (curS == ELM_CANERROR) {

     f_printf(&myFile, "%s", "ERROR: ELM_CANERROR");
     f_printf(&myFile, "%s", "\n");
     }

     else if (curS == ELM_OUTOFMEM) {

     f_printf(&myFile, "%s", "ERROR: ELM_OUTOFMEM");
     f_printf(&myFile, "%s", "\n");
     }

     else if (curS == ELM_TIMEOUT) {

     f_printf(&myFile, "%s", "ERROR: ELM_TIMEOUT");
 	 f_printf(&myFile, "%s", "\n"); }

     else if (curS == ELM_TIMEOUT) {

     f_printf(&myFile, "%s", "ERROR: ELM_GENERAL_ERROR");
 	 f_printf(&myFile, "%s", "\n"); }

     f_close(&myFile);
         }
  else
  	printf("Failed to open %s \r\n", Filename);

}

void createNewfile()
{
    //f_close(&myFile);

	  for (unsigned int k = 0; k < 100000; k++)
	  {
		Filename[3] = k / 10000 + '0'; //만자리
		Filename[4] = ((k % 10000) / 1000) + '0';//천자리
		Filename[5] = ((k % 1000) / 100) + '0';//백자리
		Filename[6] = ((k % 100) / 10) + '0'; //십자리
		Filename[7] = k % 10 + '0'; //일자리

		fr = f_open(&myFile, Filename, FA_WRITE | FA_CREATE_NEW);
		if (fr == FR_OK)
		{
			break;
		}
	  }
    printf("Logging to: ");
    printf("%s", Filename);
    printf("<<---------------------------");
    printf("Created New File...\r\n");

       //dataFile.println("Time,ELM327_Status,RunTime,Rpm,Kph,EngineLoad,throttle,InstantFuelConsume,counter_AccelYp,counter_Fuel,counter_Rpm,efficiencyScore,counter_AccelX,counter_AccelYm,AccelYm2,counter_Time,counter_KphRpm,safetyScore,drivingScore,averagedrivingScore,f_pitch,f_roll,f_accelX,f_accelY");
    	f_printf(&myFile, "%s", "Time,ELM327_Status,RunTime,Rpm,Kph,EngineLoad,throttle,InstantFuelConsume,counter_AccelYp,counter_Fuel,counter_Rpm,efficiencyScore,counter_AccelX,counter_AccelYm,AccelYm2,counter_Time,counter_KphRpm,safetyScore,drivingScore,averagedrivingScore,f_pitch,f_roll,f_accelX,f_accelY");
    	f_printf(&myFile, "%s", "\n");
       //csv 엑셀 윗라인 항목 표시띠
        f_close(&myFile);
}

void createNewfile2()
{
	 //f_close(&myFile);
		  for (unsigned int k = 0; k < 100000; k++)
		  {
			Filename[3] = k / 10000 + '0'; //만자리
			Filename[4] = ((k % 10000) / 1000) + '0';//천자리
			Filename[5] = ((k % 1000) / 100) + '0';//백자리
			Filename[6] = ((k % 100) / 10) + '0'; //십자리
			Filename[7] = k % 10 + '0'; //일자리
			fr = f_open(&myFile, Filename, FA_WRITE | FA_CREATE_NEW);
			if (fr == FR_OK)
			{
				break;
			}
		  }
	    printf("Logging to: ");
	    printf("%s", Filename);
	    printf("<<---------------------------");
	    printf("Created New File...\r\n");

       //dataFile.println("Time,ELM327_Status,RunTime,Rpm,Kph,EngineLoad,throttle,commandedThrottleActuator,counter_AccelYp,counter_Throttle,counter_Rpm,efficiencyScore,counter_AccelX,counter_AccelYm,AccelYm2,counter_Time,counter_KphRpm,safetyScore,drivingScore,averagedrivingScore,f_pitch,f_roll,f_accelX,f_accelY");
       f_printf(&myFile, "%s", "Time,ELM327_Status,RunTime,Rpm,Kph,EngineLoad,throttle,commandedThrottleActuator,counter_AccelYp,counter_Throttle,counter_Rpm,efficiencyScore,counter_AccelX,counter_AccelYm,AccelYm2,counter_Time,counter_KphRpm,safetyScore,drivingScore,averagedrivingScore,f_pitch,f_roll,f_accelX,f_accelY");
       f_printf(&myFile, "%s", "\n");
       //csv 엑셀 윗라인 항목 표시띠
       f_close(&myFile);
}

/////////////////////////////////////////////Algorithm////////////////////////////////////////////////////////

//efficiency algorithm//

void accelYpAlgorithm() //forward acceleration algorithm
{
  const float limitAccelY = 0.4;
  //static float pre_f_accelY = 0.0;
  //static int counter_AccelYp = 0;

  if ( (f_accelY >= limitAccelY) && (pre_f_accelY < limitAccelY) )
  {
    counter_AccelYp++;
    printf("counter_AccelYp : ");
    printf("%lu\r\n", counter_AccelYp);
  }

}

void fuelAlgorithm() //fuel consumption algorithm
{
  const int limitFuel = 8; // km/l
  //static int counter_Fuel = 0;
  const int limitFuel_max = 12;
  //static float pre_instantFuelConsume = 0.0;

  averageFuelConsume = (float)((averageFuelConsume*(counter_N1-1)+instantFuelConsume)/counter_N1);

if (averageFuelConsume <= limitFuel_max)
{
  if ( (instantFuelConsume <= limitFuel) && (pre_instantFuelConsume > limitFuel) )
  {
    counter_Fuel++;
    printf("counter_Fuel : ");
    printf("%lu\r\n", counter_Fuel);
  }
  else if ( (instantFuelConsume >= limitFuel_max) && (pre_instantFuelConsume < limitFuel_max) )
  {
    counter_Fuel--;
    if (counter_Fuel <= 0 )
    {
      counter_Fuel = 0;
    printf("counter_Fuel : ");
    printf("%lu\r\n", counter_Fuel);
    }
  }
}
counter_N1++;
}

void commandedThrottleActuatorAlgorithm()
{
    //static int counter_Throttle = 0;

    const int limit_Throttle_max = 65;
    const int limit_Throttle = 20;
    const int limit_Throttle_min = 10;

     averagecommandedThrottleActuator = (float)((averagecommandedThrottleActuator*(counter_N2-1)+commandedThrottleActuator)/counter_N2);

if (averagecommandedThrottleActuator >= limit_Throttle_min) {
  if ( (commandedThrottleActuator >= limit_Throttle) && (pre_commandedThrottleActuator < limit_Throttle) )
  {
    counter_Throttle++;
    printf("counter_Throttle : ");
    printf("%lu\r\n", counter_Throttle);
  }
    if ( (commandedThrottleActuator >= limit_Throttle_max) && (pre_commandedThrottleActuator < limit_Throttle_max) )
    {
    counter_Throttle++;
    printf("counter_Throttle+ : ");
    printf("%lu\r\n", counter_Throttle);
    }
    if ( (commandedThrottleActuator > limit_Throttle_max) && (pre_commandedThrottleActuator > limit_Throttle) )
    {
    counter_Throttle++;
    printf("counter_Throttle+ : ");
    printf("%lu\r\n", counter_Throttle);
    }
    if ( (commandedThrottleActuator <= limit_Throttle_min) && (pre_commandedThrottleActuator > limit_Throttle_min) )
  {
    counter_Throttle--;
    if (counter_Throttle <= 0 )
    {
      counter_Throttle = 0;
    printf("counter_Throttle : ");
    printf("%lu\r\n", counter_Throttle);
    }
  }
}

//
//if (averagecommandedThrottleActuator < limit_Throttle_min)
//{
//    counter_Throttle = 0;
//    printf("counter_Throttle Zeroed ");
//    printf("%lu\r\n", counter_Throttle);
//}

if (counter_Idle >= 30)
{
  counter_Throttle++;
  counter_Idle = 0;
  printf("Idle counter_Throttle+ : ");
  printf("%lu\r\n", counter_Throttle);
}
counter_N2++;
}

void rpmAlgorithm() //enginespeed algorithm
{
  const int limitRpm = 2100;
  const int limitRpm_max = 4000;
  //static uint32_t pre_rpm = 0.0;
  //static int counter_Rpm = 0;

  if ( (rpm >= limitRpm) && (pre_rpm < limitRpm) )
  {
    counter_Rpm++;
    printf("counter_Rpm : ");
    printf("%lu\r\n", counter_Rpm);
  }

  if ( ( (rpm >= limitRpm_max) && (pre_rpm >= limitRpm_max) ) || ( (rpm >= limitRpm_max) && (pre_rpm < limitRpm_max) ) )
  {
    counter_Rpm++;
    printf("counter_Rpm+ : ");
    printf("%lu\r\n", counter_Rpm);
  }
}

void efficiencyScoreAlgorithm() //algorithm with fuel limit condition efficiency formulas
{
  //static float efficiencyScore = 0.0;
  const int limitFuel_max = 12;

  if (averageFuelConsume < limitFuel_max)
  {
    efficiencyScore = (float)(5.0-(40*((float)counter_AccelYp)/runTime)-(30*((float)counter_Rpm)/runTime));
    printf("efficiencyScore : ");
    printf("%f", efficiencyScore);
    printf(" / 10\r\n");
  }
  else if (averageFuelConsume >= limitFuel_max)
  {
    efficiencyScore = (float)(10.0-(40*((float)counter_AccelYp)/runTime)-(180*((float)counter_Fuel)/runTime)-(30*((float)counter_Rpm)/runTime));
    printf("efficiencyScore : ");
    printf("%f", efficiencyScore);
    printf(" / 10\r\n");
  }
  if (efficiencyScore <= 0)
  efficiencyScore = 0.0;
  if (isnan(efficiencyScore))
  efficiencyScore = 5.0;

  printf("averageFuelConsume : ");
  printf("%f\r\n", averageFuelConsume);
}

void efficiencyScoreAlgorithm2() //algorithm with fuel limit condition efficiency formulas
{
  //static float efficiencyScore = 0.0;
  const int limit_Throttle_min = 10;

  if (averagecommandedThrottleActuator >= limit_Throttle_min)
  {
    efficiencyScore = (float)(5.0-(40*((float)counter_AccelYp)/runTime)-(30*((float)counter_Rpm)/runTime));
    printf("efficiencyScore : ");
    printf("%f", efficiencyScore);
    printf(" / 10\r\n");
  }
  else if (averagecommandedThrottleActuator < limit_Throttle_min)
  {
    efficiencyScore = (float)(10.0-(50*((float)counter_AccelYp)/runTime)-(180*((float)counter_Throttle)/runTime)-(30*((float)counter_Rpm)/runTime));
    printf("efficiencyScore : ");
    printf("%f", efficiencyScore);
    printf(" / 10\r\n");
  }
  if (efficiencyScore <= 0)
  efficiencyScore = 0.0;
  if (isnan(efficiencyScore))
  efficiencyScore = 5.0;

  printf("averagecommandedThrottleActuator : ");
  printf("%f\r\n", averagecommandedThrottleActuator);
}

//safety algorithm//

void accelXAlgorithm() //lateral acceleration algorithm
{
  const float limitAccelXp = 0.4;
  const float limitAccelXm = -0.4;
  //static float pre_f_accelX = 0.0;
  //static int counter_AccelX = 0;

  if ( (f_accelX >= limitAccelXp) && (pre_f_accelX < limitAccelXp))
  {
    counter_AccelX++;
    printf("counter_AccelX : ");
    printf("%lu\r\n", counter_AccelX);
  }
  else if ( (f_accelX <= limitAccelXm) && (pre_f_accelX > limitAccelXm))
  {
    counter_AccelX++;
    printf("counter_AccelX : ");
    printf("%lu\r\n", counter_AccelX);
  }

}

void accelYmAlgorithm() //dangerous acceleration algorithm
{
  const float limitAccelYm = -0.4;
  //static float pre_f_accelY = 0;
  //static int counter_AccelYm = 0;

if ( (f_accelY <= limitAccelYm) && (pre_f_accelY > limitAccelYm) )
{
    counter_AccelYm++;
    printf("counter_AccelYm : ");
    printf("%lu\r\n", counter_AccelYm);
}
}

void accelYmAlgorithm2() // negative forward acceleration algorithm
{
  const float limitAccelYm = -0.3;
  //static float pre_f_accelY = 0.0;
  //static int counter_AccelYm2 = 0;

  if ( (f_accelY <= limitAccelYm) && (pre_f_accelY > limitAccelYm) )
  {
    counter_AccelYm2++;
    printf("counter_AccelYm2 : ");
    printf("%lu\r\n", counter_AccelYm2);
  }
}

void timeAlgorithm() //time algorithm
{
  const int limitTime = 7200; //2hr (7200sec)
  //static uint16_t pre_runTime = 0;
  //static int counter_Time = 0;

  if ( (runTime >= limitTime) && (pre_runTime < limitTime) )
  {
    counter_Time = 1;
    printf("counter_Time : ");
    printf("%lu\r\n", counter_Time);
  }
}

void kphrpmAlgorithm() //vehicle Speed & Rpm algorithm
{
  const int limitKph = 51;
  const int limitKph_max = 135;
  //const int limitRpm = 2700;
  const int limitRpm_max = 4000;
  const int limitRpm_max2 = 5500;

  //static int32_t pre_kph = 0;
  //static int counter_KphRpm = 0;

  if ( ( (kph >= limitKph) && (pre_kph < limitKph) ) || /*( (kph >= limitKph_max) && (pre_kph >= limitKph_max) ) ||*/ ( (kph >= limitKph_max) && (pre_kph < limitKph_max) ) )
  {
    counter_KphRpm++;
    printf("counter_KphRpm : ");
    printf("%lu\r\n", counter_KphRpm);
  }

  if ( ( (rpm >= limitRpm_max2) && (pre_rpm < limitRpm_max2) ) || ( (rpm >= limitRpm_max) && (pre_rpm < limitRpm_max) ) /*|| ( (rpm >= limitRpm) && (pre_rpm < limitRpm) )*/ )
  {
      counter_KphRpm++;
      printf("counter_KphRpm+ : ");
      printf("%lu\r\n", counter_KphRpm);
  }
}

void safetyScoreAlgorithm() //algorithm with time condition formulas
{
  //static float safetyScore = 0.0;

  if (counter_Time == 0)
  {
    safetyScore = (float)(10.0-(200*((float)counter_AccelYm)/runTime)-(80*((float)counter_KphRpm)/runTime)-(50*((float)counter_AccelYm2)/runTime)-(30*((float)counter_AccelX)/runTime));
    printf("safetyScore : ");
    printf("%f", safetyScore);
    printf(" / 10\r\n");
  }
  else if (counter_Time > 0)
  {
    safetyScore = (float)(9.0-(200*((float)counter_AccelYm)/runTime)-(80*((float)counter_KphRpm)/runTime)-(50*((float)counter_AccelYm2)/runTime)-(30*((float)counter_AccelX)/runTime));
    printf("safetyScore : ");
    printf("%f", safetyScore);
    printf(" / 10\r\n");
  }

  if (safetyScore <= 0)
  safetyScore = 0.0;
  if (isnan(safetyScore))
  safetyScore = 8.0;

  printf("Counter_Time : ");
  printf("%lu\r\n", counter_Time);
}

void drivingScoreAlgorithm() //global algorithm
{
  //static float drivingScore = 10.0;

  drivingScore = ((safetyScore+efficiencyScore) / 2.0);
  char safetyScoreBuf[30] = "";

  if (drivingScore <= 2)
  {
    strcpy(safetyScoreBuf, "verybad");
    printf("safetyScoreBuf : ");
    printf("%s\r\n", safetyScoreBuf);
    printf("drivingScore : ");
    printf("%f", drivingScore);
    printf(" / 10\r\n");
  }

  else if ( (drivingScore <= 4) && (drivingScore > 2) )
  {
    strcpy(safetyScoreBuf, "bad");
    printf("safetyScoreBuf : ");
    printf("%s\r\n", safetyScoreBuf);
    printf("drivingScore : ");
    printf("%f", drivingScore);
    printf(" / 10\r\n");
  }

  else if ( (drivingScore <= 6) && (drivingScore > 4) )
  {
    strcpy(safetyScoreBuf, "normal");
    printf("safetyScoreBuf : ");
    printf("%s\r\n", safetyScoreBuf);
    printf("drivingScore : ");
    printf("%f", drivingScore);
    printf(" / 10\r\n");
  }

  else if ( (drivingScore <= 8) && (drivingScore > 6) )
  {
    strcpy(safetyScoreBuf, "good");
    printf("safetyScoreBuf : ");
    printf("%s\r\n", safetyScoreBuf);
    printf("drivingScore : ");
    printf("%f", drivingScore);
    printf(" / 10\r\n");
  }

  else if (drivingScore > 8)
  {
    strcpy(safetyScoreBuf, "verygood");
    printf("safetyScoreBuf : ");
    printf("%s\r\n", safetyScoreBuf);
    printf("drivingScore : ");
    printf("%f", drivingScore);
    printf(" / 10\r\n");
  }

}

void averagedrivingScoreAlgorithm()
{
  //static float averagedrivingScore = 10.0;
  //if (drivingScore >= 0)

  averagedrivingScore = (float)((averagedrivingScore*(counter_N3-1)+drivingScore)/counter_N3);
  if (isnan(averagedrivingScore))
  {averagedrivingScore = 7.5;}

  printf("averagedrivingScore : ");
  printf("%f", averagedrivingScore);
  printf(" / 10\r\n");

  counter_N3++;
}

void pre_DataUpdate()
{
    pre_f_accelX = f_accelX;
    pre_f_accelY = f_accelY;
    pre_rpm = rpm;
    pre_runTime = runTime;
    pre_kph = kph;
    if (mafRatecheck == true)
    {
      pre_instantFuelConsume = instantFuelConsume;
      printf("pre_instantFuelConsume = ");
      printf("%f\r\n", pre_instantFuelConsume);
      }
    else if (mafRatecheck == false)
    {
      pre_commandedThrottleActuator = commandedThrottleActuator;
      printf("pre_commandedThrottleActuator : ");
      printf("%f\r\n", pre_commandedThrottleActuator);
    }

    printf("pre_f_accelX = ");
    printf("%f\r\n", pre_f_accelX);
    printf("pre_f_accelY = ");
    printf("%f\r\n", pre_f_accelY);
    printf("pre_rpm = ");
    printf("%lu\r\n", pre_rpm);
    printf("pre_runTime = ");
    printf("%lu\r\n", pre_runTime);
    printf("pre_kph = ");
    printf("%ld\r\n", pre_kph);

    printf("pre_Data Updated\r\n");
}

void counterReset()
{
  counter_AccelYp = 0;
  counter_Fuel = 0;
  counter_Throttle = 0;
  counter_Rpm = 0;
  efficiencyScore = 0.0;
  counter_AccelX = 0;
  counter_AccelYm = 0;
  counter_AccelYm2 = 0;
  counter_Time = 0;
  counter_KphRpm = 0;
  safetyScore = 0.0;
  drivingScore = 7.5;
  averagedrivingScore = 10.0;
  counter_N1 = 1;
  counter_N2 = 1;
  counter_N3 = 1;

  averageFuelConsume= 0.0;
  averagecommandedThrottleActuator = 0.0;

  printf("Counter Reset\r\n");
}

bool errorValueReset()
{
  errorvaluecheck = false;
   if ( (rpm == -1) || (engineLoad == -1) || (kph == -1) || (runTime == 65535) )
   {
    runTime = pre_runTime;
    rpm = 700;
    kph = 1;
    engineLoad = 19;
    oilTemp = 85;
    engineCoolantTemp = 85;
    relativePedalPos = 10;
    throttle = 13;
    relativeThrottle = 3;
    commandedThrottleActuator = 5.0;
    intakeAirTemp = 15;
    manifoldPressure = 32;
    mafRate = 2.01;
    //fuelLevel = 50;
    ctrlModVoltage = 14;
    distTravelWithMIL = 0;
    ambientAirTemp = 15;

    errorvaluecheck = true;
   }
   return errorvaluecheck;
}

bool mafRateCheck(float mafRate_value)
{

  if (mafRate_value <= 0)
	  mafRatecheck = false;

  else if (mafRate_value > 0)
	  mafRatecheck = true;

  return mafRatecheck;
}

bool Uart6_timeout()
{
	Uart6_currentTime = millis();
	if ((Uart6_currentTime - Uart6_previousTime) >= Uart6_timeout_ms)
		return true;
	return false;
}

void flushInputBuff()
{
    unsigned char ch;

    while (IsDataAvailable())
    {
        ch = Uart_read();
    }
    // sekim 20200514 Remove Warning
}
/* USER CODE END 4 */

void Error_Handler(void)
{
  __disable_irq();
  while (1)
  {
  }
}
